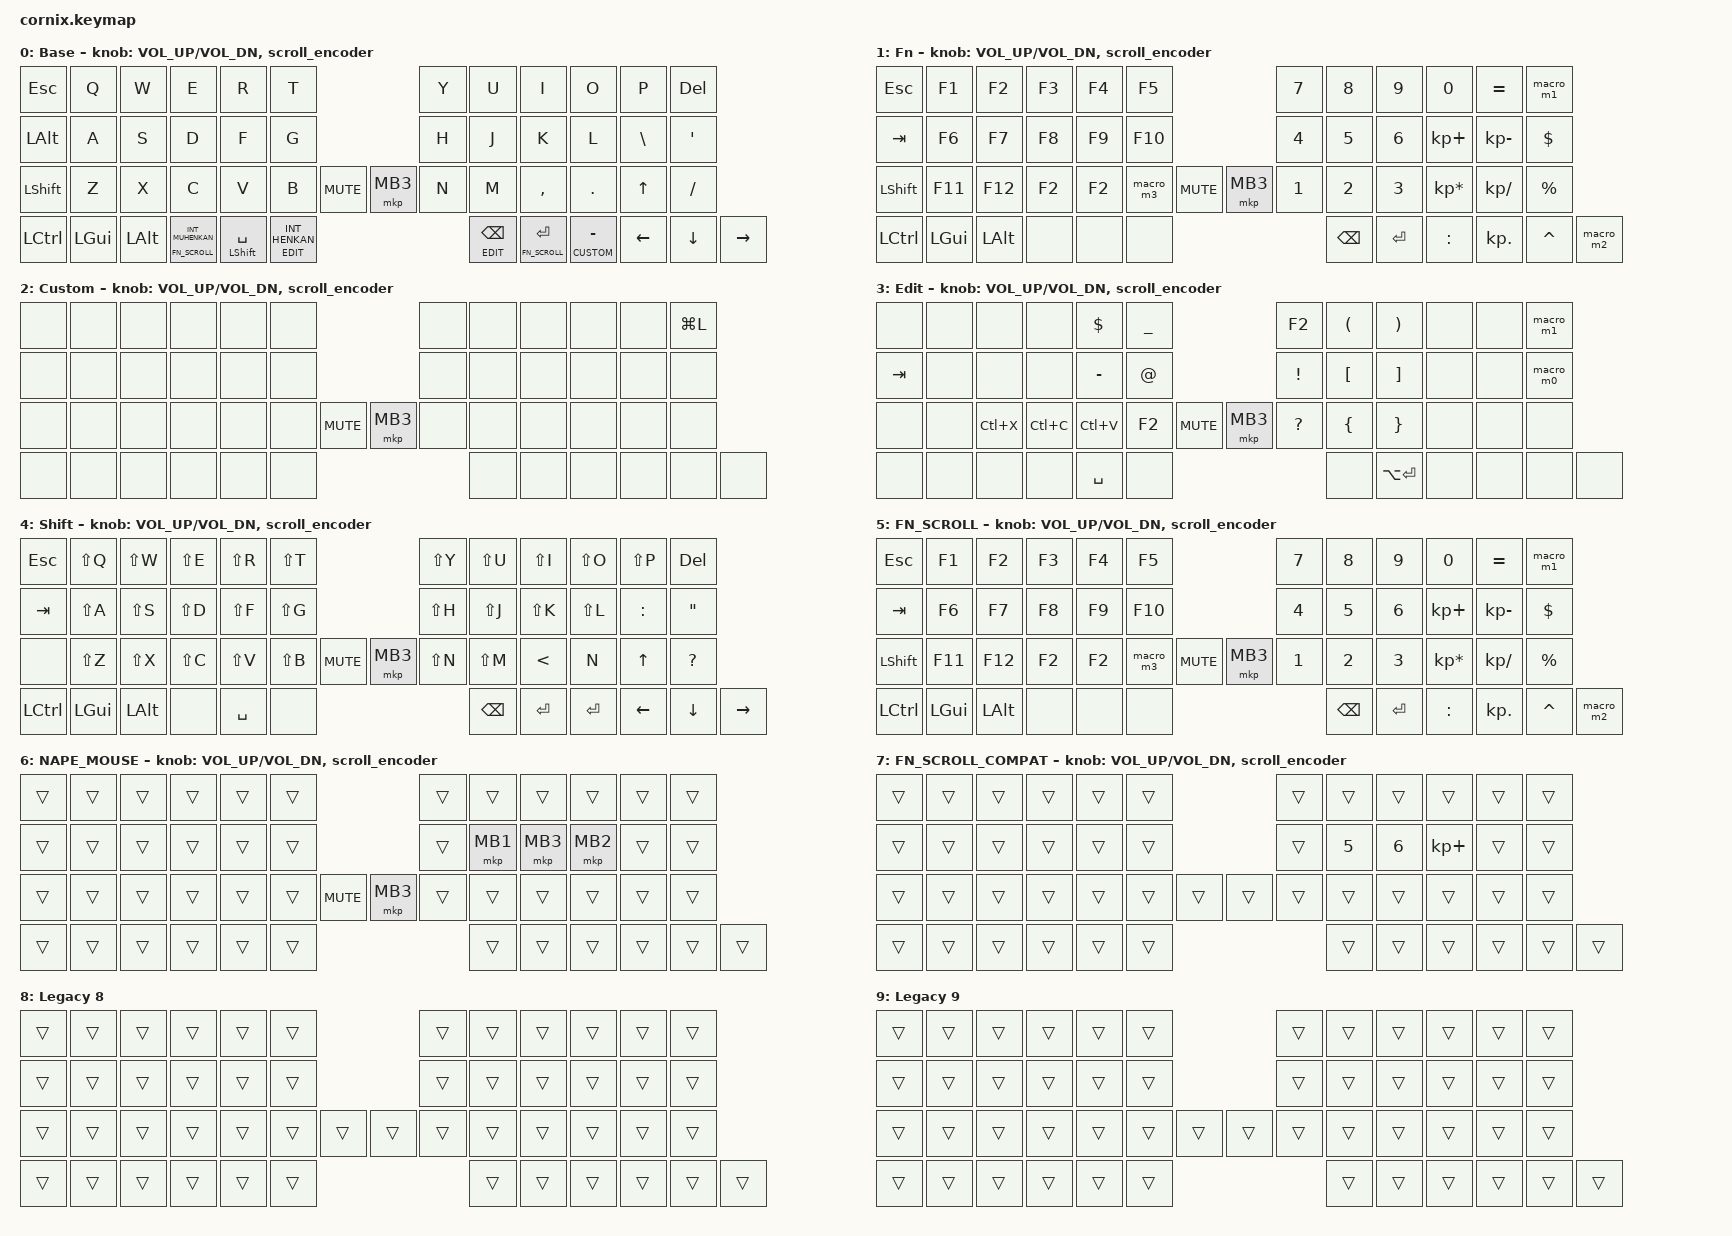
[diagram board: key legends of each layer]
/*
 * Copyright (c) 2020 The ZMK Contributors
 *
 * SPDX-License-Identifier: MIT
 */

#include <behaviors.dtsi>
#include <dt-bindings/zmk/keys.h>
#include <dt-bindings/zmk/pointing.h>

#define BASE    0
#define FN      1
#define CUSTOM  2
#define EDIT    3
#define SHIFTED 4
#define FN_SCROLL 5
#define NAPE_MOUSE 6
#define FN_SCROLL_COMPAT 7

/ {
    behaviors {
        mt200: mod_tap_200 {
            compatible = "zmk,behavior-hold-tap";
            #binding-cells = <2>;
            bindings = <&kp>, <&kp>;

            flavor = "balanced";
            tapping-term-ms = <200>;
            quick-tap-ms = <200>;
        };

        lt150: layer_tap_150 {
            compatible = "zmk,behavior-hold-tap";
            #binding-cells = <2>;
            bindings = <&mo>, <&kp>;

            flavor = "hold-preferred";
            tapping-term-ms = <150>;
            quick-tap-ms = <150>;
        };

        bs200: backspace_layer_tap {
            compatible = "zmk,behavior-hold-tap";
            #binding-cells = <2>;
            bindings = <&mo>, <&kp>;

            flavor = "hold-preferred";
            tapping-term-ms = <150>;
            quick-tap-ms = <200>;
        };

        lt300: layer_tap_300 {
            compatible = "zmk,behavior-hold-tap";
            #binding-cells = <2>;
            bindings = <&mo>, <&kp>;

            flavor = "hold-preferred";
            tapping-term-ms = <300>;
            quick-tap-ms = <300>;
        };

        scroll_encoder: scroll_encoder {
            compatible = "zmk,behavior-sensor-rotate";
            #sensor-binding-cells = <0>;
            bindings = <&msc SCRL_UP>, <&msc SCRL_DOWN>;
        };
    };

    macros {
        macro_m0: macro_m0 {
            compatible = "zmk,behavior-macro";
            #binding-cells = <0>;
            wait-ms = <40>;
            tap-ms = <40>;
            bindings = <&kp N1 &kp N2 &kp N6 &kp N2 &kp A &kp N &kp D &kp N7 &kp LBKT>;
        };

        macro_m1: macro_m1 {
            compatible = "zmk,behavior-macro";
            #binding-cells = <0>;
            wait-ms = <40>;
            tap-ms = <40>;
            bindings = <&kp N1 &kp N2 &kp N6 &kp N2 &kp LS(A) &kp N &kp D &kp N7 &kp AT>;
        };

        macro_m2: macro_m2 {
            compatible = "zmk,behavior-macro";
            #binding-cells = <0>;
            wait-ms = <40>;
            tap-ms = <40>;
            bindings = <&kp M &kp P &kp A>;
        };

        macro_m3: macro_m3 {
            compatible = "zmk,behavior-macro";
            #binding-cells = <0>;
            bindings =
                <&macro_press>,
                <&kp LCTRL &kp LSHFT>,
                <&macro_tap>,
                <&kp MINUS>,
                <&macro_release>,
                <&kp LCTRL &kp LSHFT>;
        };
    };

    combos {
        compatible = "zmk,combos";

        combo_esc_alt_tab {
            bindings = <&kp TAB>;
            key-positions = <0 12>;
            layers = <BASE>;
        };
    };

    conditional_layers {
        compatible = "zmk,conditional-layers";

        fn_scroll_mouse_compat {
            if-layers = <FN_SCROLL NAPE_MOUSE>;
            then-layer = <FN_SCROLL_COMPAT>;
        };
    };

    keymap {
        compatible = "zmk,keymap";

        base_layer {
            display-name = "Base";
            bindings = <
&kp ESC    &kp Q     &kp W     &kp E                   &kp R               &kp T                                         &kp Y             &kp U            &kp I                &kp O     &kp P     &kp DEL
&kp LALT   &kp A     &kp S     &kp D                   &kp F               &kp G                                         &kp H             &kp J            &kp K                &kp L     &kp BSLH  &kp SQT
&kp LSHFT  &kp Z     &kp X     &kp C                   &kp V               &kp B                   &kp C_MUTE  &mkp MB3  &kp N             &kp M            &kp COMMA            &kp DOT   &kp UP    &kp FSLH
&kp LCTRL  &kp LGUI  &kp LALT  &lt150 FN_SCROLL INT_MUHENKAN  &mt200 LSHFT SPACE  &lt150 EDIT INT_HENKAN                        &bs200 EDIT BSPC  &lt150 FN_SCROLL ENTER  &lt300 CUSTOM MINUS  &kp LEFT  &kp DOWN  &kp RIGHT
            >;

            sensor-bindings = <&inc_dec_kp C_VOL_UP C_VOL_DN &scroll_encoder>;
        };

        fn_layer {
            display-name = "Fn";
            bindings = <
&kp ESC    &kp F1    &kp F2    &kp F3  &kp F4  &kp F5                           &kp N7    &kp N8     &kp N9     &kp N0           &kp EQUAL      &macro_m1
&kp TAB    &kp F6    &kp F7    &kp F8  &kp F9  &kp F10                          &kp N4    &kp N5     &kp N6     &kp KP_PLUS      &kp KP_MINUS   &kp DLLR
&kp LSHFT  &kp F11   &kp F12   &kp F2  &kp F2  &macro_m3  &kp C_MUTE  &mkp MB3  &kp N1    &kp N2     &kp N3     &kp KP_MULTIPLY  &kp KP_DIVIDE  &kp PRCNT
&kp LCTRL  &kp LGUI  &kp LALT  &none   &none   &none                            &kp BSPC  &kp ENTER  &kp COLON  &kp KP_DOT       &kp CARET      &macro_m2
            >;

            sensor-bindings = <&inc_dec_kp C_VOL_UP C_VOL_DN &scroll_encoder>;
        };

        custom_layer {
            display-name = "Custom";

            /* Vial USER00, USER01, and USER02 are left unbound until their intended ZMK behaviors are known. */

            bindings = <
&none  &none  &none  &none  &none  &none                        &none  &none  &none  &none  &none  &kp LG(L)
&none  &none  &none  &none  &none  &none                        &none  &none  &none  &none  &none  &none
&none  &none  &none  &none  &none  &none  &kp C_MUTE  &mkp MB3  &none  &none  &none  &none  &none  &none
&none  &none  &none  &none  &none  &none                        &none  &none  &none  &none  &none  &none
            >;

            sensor-bindings = <&inc_dec_kp C_VOL_UP C_VOL_DN &scroll_encoder>;
        };

        edit_layer {
            display-name = "Edit";
            bindings = <
&none    &none  &none      &none      &kp DLLR   &kp UNDER                        &kp F2        &kp LPAR       &kp RPAR  &none  &none  &macro_m1
&kp TAB  &none  &none      &none      &kp MINUS  &kp AT                           &kp EXCL      &kp LBKT       &kp RBKT  &none  &none  &macro_m0
&none    &none  &kp LC(X)  &kp LC(C)  &kp LC(V)  &kp F2     &kp C_MUTE  &mkp MB3  &kp QUESTION  &kp LBRC       &kp RBRC  &none  &none  &none
&none    &none  &none      &none      &kp SPACE  &none                            &none         &kp LA(ENTER)  &none     &none  &none  &none
            >;

            sensor-bindings = <&inc_dec_kp C_VOL_UP C_VOL_DN &scroll_encoder>;
        };

        shifted_layer {
            display-name = "Shift";
            bindings = <
&kp ESC    &kp LS(Q)  &kp LS(W)  &kp LS(E)  &kp LS(R)  &kp LS(T)                        &kp LS(Y)  &kp LS(U)  &kp LS(I)  &kp LS(O)  &kp LS(P)  &kp DEL
&kp TAB    &kp LS(A)  &kp LS(S)  &kp LS(D)  &kp LS(F)  &kp LS(G)                        &kp LS(H)  &kp LS(J)  &kp LS(K)  &kp LS(L)  &kp COLON  &kp DQT
&none      &kp LS(Z)  &kp LS(X)  &kp LS(C)  &kp LS(V)  &kp LS(B)  &kp C_MUTE  &mkp MB3  &kp LS(N)  &kp LS(M)  &kp LT     &kp N      &kp UP     &kp QUESTION
&kp LCTRL  &kp LGUI   &kp LALT   &none      &kp SPACE  &none                            &kp BSPC   &kp ENTER  &kp ENTER  &kp LEFT   &kp DOWN   &kp RIGHT
            >;

            sensor-bindings = <&inc_dec_kp C_VOL_UP C_VOL_DN &scroll_encoder>;
        };

        layer_5 {
            display-name = "FN_SCROLL";
            bindings = <
&kp ESC    &kp F1    &kp F2    &kp F3  &kp F4  &kp F5                           &kp N7    &kp N8     &kp N9     &kp N0           &kp EQUAL      &macro_m1
&kp TAB    &kp F6    &kp F7    &kp F8  &kp F9  &kp F10                          &kp N4    &kp N5     &kp N6     &kp KP_PLUS      &kp KP_MINUS   &kp DLLR
&kp LSHFT  &kp F11   &kp F12   &kp F2  &kp F2  &macro_m3  &kp C_MUTE  &mkp MB3  &kp N1    &kp N2     &kp N3     &kp KP_MULTIPLY  &kp KP_DIVIDE  &kp PRCNT
&kp LCTRL  &kp LGUI  &kp LALT  &none   &none   &none                            &kp BSPC  &kp ENTER  &kp COLON  &kp KP_DOT       &kp CARET      &macro_m2
            >;

            sensor-bindings = <&inc_dec_kp C_VOL_UP C_VOL_DN &scroll_encoder>;
        };

        layer_6 {
            display-name = "NAPE_MOUSE";
            bindings = <
&trans  &trans  &trans  &trans  &trans  &trans                        &trans  &trans    &trans    &trans    &trans  &trans
&trans  &trans  &trans  &trans  &trans  &trans                        &trans  &mkp MB1  &mkp MB3  &mkp MB2  &trans  &trans
&trans  &trans  &trans  &trans  &trans  &trans  &kp C_MUTE  &mkp MB3  &trans  &trans    &trans    &trans    &trans  &trans
&trans  &trans  &trans  &trans  &trans  &trans                        &trans  &trans    &trans    &trans    &trans  &trans
            >;

            sensor-bindings = <&inc_dec_kp C_VOL_UP C_VOL_DN &scroll_encoder>;
        };

        layer_7 {
            display-name = "FN_SCROLL_COMPAT";
            bindings = <
&trans  &trans  &trans  &trans  &trans  &trans                        &trans  &trans  &trans  &trans  &trans  &trans
&trans  &trans  &trans  &trans  &trans  &trans                        &trans  &kp N5  &kp N6  &kp KP_PLUS  &trans  &trans
&trans  &trans  &trans  &trans  &trans  &trans  &trans  &trans  &trans  &trans  &trans  &trans  &trans  &trans
&trans  &trans  &trans  &trans  &trans  &trans                        &trans  &trans  &trans  &trans  &trans  &trans
            >;

            sensor-bindings = <&inc_dec_kp C_VOL_UP C_VOL_DN &scroll_encoder>;
        };

        layer_8 {
            display-name = "Legacy 8";
            bindings = <
&trans  &trans  &trans  &trans  &trans  &trans                        &trans  &trans  &trans  &trans  &trans  &trans
&trans  &trans  &trans  &trans  &trans  &trans                        &trans  &trans  &trans  &trans  &trans  &trans
&trans  &trans  &trans  &trans  &trans  &trans  &trans  &trans  &trans  &trans  &trans  &trans  &trans  &trans
&trans  &trans  &trans  &trans  &trans  &trans                        &trans  &trans  &trans  &trans  &trans  &trans
            >;
        };

        layer_9 {
            display-name = "Legacy 9";
            bindings = <
&trans  &trans  &trans  &trans  &trans  &trans                        &trans  &trans  &trans  &trans  &trans  &trans
&trans  &trans  &trans  &trans  &trans  &trans                        &trans  &trans  &trans  &trans  &trans  &trans
&trans  &trans  &trans  &trans  &trans  &trans  &trans  &trans  &trans  &trans  &trans  &trans  &trans  &trans
&trans  &trans  &trans  &trans  &trans  &trans                        &trans  &trans  &trans  &trans  &trans  &trans
            >;
        };
    };
};
